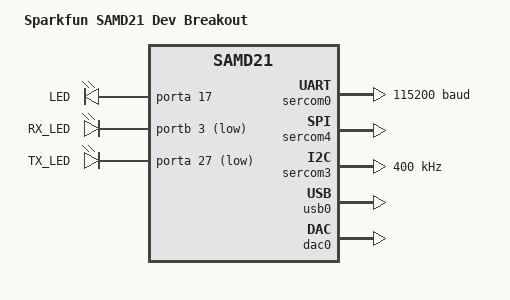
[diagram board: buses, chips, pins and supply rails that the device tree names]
/*
 * Copyright The Zephyr Project Contributors
 * SPDX-License-Identifier: Apache-2.0
 */

/dts-v1/;
#include <atmel/samd21.dtsi>
#include <atmel/samx2xx18.dtsi>
#include "sparkfun_samd21_breakout-pinctrl.dtsi"
#include "sparkfun_samd21_breakout_connector.dtsi"

/ {
	compatible = "sparkfun,samd21";
	model = "Sparkfun SAMD21 Dev Breakout";

	chosen {
		zephyr,console = &sercom0;
		zephyr,shell-uart = &sercom0;
		zephyr,sram = &sram0;
		zephyr,flash = &flash0;
		zephyr,i2c = &sercom3;
		zephyr,code-partition = &code_partition;
	};

	leds {
		compatible = "gpio-leds";

		led: led_0 {
			gpios = <&porta 17 GPIO_ACTIVE_HIGH>; // d13
			label = "LED";
		};

		rx_led: led_1 {
			gpios = <&portb 3 GPIO_ACTIVE_LOW>;
			label = "RX_LED";
		};

		tx_led: led_2 {
			gpios = <&porta 27 GPIO_ACTIVE_LOW>;
			label = "TX_LED";
		};
	};

	/* These aliases are provided for compatibility with samples */
	aliases {
		led0 = &led;
		led1 = &rx_led;
		led2 = &tx_led;
	};
};

&cpu0 {
	clock-frequency = <48000000>;
};

&sercom0 {
	compatible = "atmel,sam0-uart";
	current-speed = <115200>;
	rxpo = <1>;
	txpo = <0>;

	pinctrl-0 = <&sercom0_uart_default>;
	pinctrl-names = "default";
	status = "okay";
};

&sercom4 {
	compatible = "atmel,sam0-spi";
	dipo = <1>;
	dopo = <1>;
	#address-cells = <1>;
	#size-cells = <0>;

	pinctrl-0 = <&sercom4_spi_default>;
	pinctrl-names = "default";
	status = "okay";
};

&sercom3 {
	compatible = "atmel,sam0-i2c";
	clock-frequency = <I2C_BITRATE_FAST>;
	#address-cells = <1>;
	#size-cells = <0>;

	pinctrl-0 = <&sercom3_i2c_default>;
	pinctrl-names = "default";
	status = "okay";
};

zephyr_udc0: &usb0 {

	pinctrl-0 = <&usb_dc_default>;
	pinctrl-names = "default";
	status = "okay";
};

&dac0 {

	pinctrl-0 = <&dac_default>;
	pinctrl-names = "default";
	status = "okay";
};

&flash0 {
	partitions {
		compatible = "fixed-partitions";
		#address-cells = <1>;
		#size-cells = <1>;

		boot_partition: partition@0 {
			reg = <0x00000000 DT_SIZE_K(8)>;
			label = "uf2";
			read-only;
		};

		code_partition: partition@2000 {
			reg = <0x2000 DT_SIZE_K(256-8-16)>;
			label = "code";
			read-only;
		};

		/*
		 * The final 16 KiB is reserved for the application.
		 * Storage partition may be used by FCB or LittleFS.
		 */
		storage_partition: partition@3c000 {
			reg = <0x0003c000 DT_SIZE_K(16)>;
			label = "storage";
		};
	};
};
